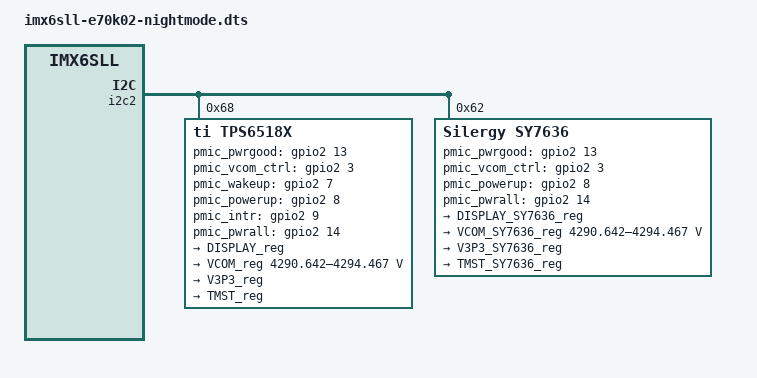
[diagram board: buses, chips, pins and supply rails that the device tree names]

#include "imx6sll-e70k02-base.dts"

&i2c2 {
	tps6518x@68 {
		compatible = "ti,tps6518x";
		reg = <0x68>;
		/*
		 * power sequencing for TPS65180/65181
		 */
		pwr_seq0 = <0xe1>; /* [Vddh-seq=3 | Vpos-seq=2 | Vee-seq=0 | Vneg-seq=1] */
		pwr_seq1 = <0x30>; /* [Vneg-dly1=3 |Vee-dly0=0]  mSec */
		pwr_seq2 = <0x33>; /* [Vddh-dly3=3 | Vpos-dly2=3] mSec */
		/*
		 * power sequencing for TPS65185/65186
		 */
		upseq0 = <0xe1>;
		upseq1 = <0x00>;
		dwnseq0 = <0x1e>;
		dwnseq1 = <0xe0>;

		gpio_pmic_pwrgood = <&gpio2 13 0>;
		gpio_pmic_vcom_ctrl = <&gpio2 3 GPIO_ACTIVE_HIGH>;
		gpio_pmic_wakeup = <&gpio2 7 0>;
		gpio_pmic_powerup = <&gpio2 8 GPIO_ACTIVE_HIGH>;
		gpio_pmic_intr = <&gpio2 9 0>;

		/* gpio_pmic_v3p3 = <&gpio2 14 GPIO_ACTIVE_HIGH>; */
		gpio_pmic_pwrall = <&gpio2 14 GPIO_ACTIVE_HIGH>;

		regulators {
			DISPLAY_reg: DISPLAY {
				regulator-name = "DISPLAY";
			};

			VCOM_reg: VCOM {
				regulator-name = "VCOM";
				/* 2's-compliment, -4325000 */
				regulator-min-microvolt = <0xffbe0178>;
				/* 2's-compliment, -500000 */
				regulator-max-microvolt = <0xfff85ee0>;
			};

			V3P3_reg: V3P3 {
				regulator-name = "V3P3";
			};

			TMST_reg: TMST {
				regulator-name = "TMST";
			};

		};
	};
};

&i2c2 {
	sy7636@62 {
		compatible = "Silergy,sy7636";
		reg = <0x62>;
		/*
		 * power on delay for SY7636
		 * 0x0 : 0ms
		 * 0x1 : 1ms
		 * 0x2 : 2ms
		 * 0x3 : 4ms
		 * chip default is 2ms .
		 */
		on_delay1 = <0x2>;
		on_delay2 = <0x2>;
		on_delay3 = <0x2>;
		on_delay4 = <0x2>;

		//turnoff_delay_ep3v3 = <900>;

		/*
		 * VLDO Voltage Adjustment Control 
		 * 0x0 = reserved
		 * 0x1 = +/-18V
		 * 0x2 = +/-15.25V
		 * 0x3 = +/-15V (default)
		 * 0x4 = +/-14.75V
		 * 0x5 = +/-14.5V
		 * 0x6 = +/-14.25V
		 * 0x7 = reserved
		VLDO = <0x2>;
		 */

		/*
		 * VDDH EXT Control : delay setting at lightness mode .
		 * 0x0 = 0ms 
		 * 0x1 = 125ms
		 * 0x2 = 250ms
		 * 0x3 = 375ms
		 * 0x4 = 500ms
		 * 0x5 = 625ms
		 * 0x6 = 750ms
		 * 0x7 = 825ms
		 * 0x8 = 1000ms
		 */
		vddh_ext = <0x1>;

		/*
		 * VPDD_LEN Control : delay setting at lightness mode .
		 * 0x0 = 0 s 
		 * 0x1 = 0.350 s
		 * 0x2 = 0.700 s
		 * ...
		 * 0x7 = 2.45 s
		 * ...
		 * 0x11 = 5.95 s
		 * 0x12 = 6.3 s
		 */
		vpdd_len = <0x1>;
		/*
		 * VPOS delay times 
		 * VP_EXT Control : delay setting at lightness mode .
		 * 0x0 = 0 s 
		 * 0x1 = 250ms
		 * 0x2 = 500ms
		 */
		vp_ext = <0x1>;
		/*
		 * VEE_EXT Control : delay setting at lightness mode .
		 * 0x0 = 0 s 
		 * 0x1 = 0.35 s
		 * 0x2 = 0.70 s
		 * ...
		 * 0x6 = 2.10 s
		 * ...
		 * 0x11 = 5.95 s
		 * 0x12 = 6.30 s
		 */
		vee_ext = <0x1>;

		
		gpio_pmic_pwrgood = <&gpio2 13 0>;
		gpio_pmic_vcom_ctrl = <&gpio2 3 GPIO_ACTIVE_HIGH>;
		gpio_pmic_powerup = <&gpio2 8 GPIO_ACTIVE_HIGH>;

		/* gpio_pmic_v3p3 = <&gpio2 14 GPIO_ACTIVE_HIGH>; */
		gpio_pmic_pwrall = <&gpio2 14 GPIO_ACTIVE_HIGH>;

		regulators {
			DISPLAY_SY7636_reg: DISPLAY_SY7636 {
				regulator-name = "DISPLAY_SY7636";
			};

			VCOM_SY7636_reg: VCOM_SY7636 {
				regulator-name = "VCOM_SY7636";
				/* 2's-compliment, -4325000 */
				regulator-min-microvolt = <0xffbe0178>;
				/* 2's-compliment, -500000 */
				regulator-max-microvolt = <0xfff85ee0>;
			};

			V3P3_SY7636_reg: V3P3_SY7636 {
				regulator-name = "V3P3_SY7636";
			};

			TMST_SY7636_reg: TMST_SY7636 {
				regulator-name = "TMST_SY7636";
			};

		};
	};
};

&epdc {
	gpio_xon = <&gpio3 30 GPIO_ACTIVE_HIGH> ;
};
&pinctrl_epdc0 {
	fsl,pins = <
				MX6SLL_PAD_EPDC_DATA00__EPDC_DATA00	0x100b1
				MX6SLL_PAD_EPDC_DATA01__EPDC_DATA01	0x100b1
				MX6SLL_PAD_EPDC_DATA02__EPDC_DATA02	0x100b1
				MX6SLL_PAD_EPDC_DATA03__EPDC_DATA03	0x100b1
				MX6SLL_PAD_EPDC_DATA04__EPDC_DATA04	0x100b1
				MX6SLL_PAD_EPDC_DATA05__EPDC_DATA05	0x100b1
				MX6SLL_PAD_EPDC_DATA06__EPDC_DATA06	0x100b1
				MX6SLL_PAD_EPDC_DATA07__EPDC_DATA07	0x100b1
				MX6SLL_PAD_EPDC_DATA08__EPDC_DATA08	0x100b1
				MX6SLL_PAD_EPDC_DATA09__EPDC_DATA09	0x100b1
				MX6SLL_PAD_EPDC_DATA10__EPDC_DATA10	0x100b1
				MX6SLL_PAD_EPDC_DATA11__EPDC_DATA11	0x100b1
				MX6SLL_PAD_EPDC_DATA12__EPDC_DATA12	0x100b1
				MX6SLL_PAD_EPDC_DATA13__EPDC_DATA13	0x100b1
				MX6SLL_PAD_EPDC_DATA14__EPDC_DATA14	0x100b1
				MX6SLL_PAD_EPDC_DATA15__EPDC_DATA15	0x100b1
				MX6SLL_PAD_EPDC_SDCLK__EPDC_SDCLK_P	0x100b1
				MX6SLL_PAD_EPDC_SDLE__EPDC_SDLE		0x100b1
				MX6SLL_PAD_EPDC_SDOE__EPDC_SDOE		0x100b1
				MX6SLL_PAD_EPDC_SDSHR__EPDC_SDSHR	0x100b1
				MX6SLL_PAD_EPDC_SDCE0__EPDC_SDCE0	0x100b1
				MX6SLL_PAD_EPDC_GDCLK__EPDC_GDCLK	0x100b1
				MX6SLL_PAD_EPDC_GDOE__EPDC_GDOE		0x100b1
				MX6SLL_PAD_EPDC_GDRL__EPDC_GDRL		0x100b1
				MX6SLL_PAD_EPDC_GDSP__EPDC_GDSP		0x100b1
				MX6SLL_PAD_KEY_COL3__GPIO3_IO30		0x10059
          >;
};

&pinctrl_hog {
			fsl,pins = <
				MX6SLL_PAD_LCD_DATA01__GPIO2_IO21	0x79
				MX6SLL_PAD_LCD_DATA04__GPIO2_IO24	0x79
				MX6SLL_PAD_LCD_DATA05__GPIO2_IO25	0x79
				MX6SLL_PAD_LCD_DATA06__GPIO2_IO26	0x79
				MX6SLL_PAD_LCD_DATA07__GPIO2_IO27	0x79
				MX6SLL_PAD_LCD_DATA08__GPIO2_IO28	0x79
				MX6SLL_PAD_LCD_DATA09__GPIO2_IO29	0x79
				MX6SLL_PAD_LCD_DATA10__GPIO2_IO30	0x79
				MX6SLL_PAD_LCD_DATA11__GPIO2_IO31	0x79
				MX6SLL_PAD_LCD_DATA12__GPIO3_IO00	0x79
				MX6SLL_PAD_LCD_DATA13__GPIO3_IO01	0x79
				MX6SLL_PAD_LCD_DATA14__GPIO3_IO02	0x79
				MX6SLL_PAD_LCD_DATA15__GPIO3_IO03	0x79
				MX6SLL_PAD_LCD_DATA16__GPIO3_IO04	0x79
				MX6SLL_PAD_LCD_DATA17__GPIO3_IO05	0x79
				MX6SLL_PAD_LCD_DATA18__GPIO3_IO06	0x79
				MX6SLL_PAD_LCD_DATA19__GPIO3_IO07	0x79
				MX6SLL_PAD_LCD_DATA20__GPIO3_IO08	0x79
				MX6SLL_PAD_LCD_DATA21__GPIO3_IO09	0x79
				MX6SLL_PAD_LCD_DATA22__GPIO3_IO10	0x79
				MX6SLL_PAD_LCD_DATA23__GPIO3_IO11	0x79
				MX6SLL_PAD_LCD_CLK__GPIO2_IO15		0x79
				MX6SLL_PAD_LCD_ENABLE__GPIO2_IO16	0x79
				MX6SLL_PAD_LCD_HSYNC__GPIO2_IO17	0x79
				MX6SLL_PAD_LCD_VSYNC__GPIO2_IO18	0x79
				MX6SLL_PAD_LCD_RESET__GPIO2_IO19 	0x79
				MX6SLL_PAD_GPIO4_IO21__GPIO4_IO21	0x79
				MX6SLL_PAD_GPIO4_IO26__GPIO4_IO26	0x79
				MX6SLL_PAD_KEY_ROW7__GPIO4_IO07		0x79
				MX6SLL_PAD_ECSPI2_MOSI__GPIO4_IO13	0x79	
				MX6SLL_PAD_KEY_ROW6__GPIO4_IO05		0x79			
			>;
};


